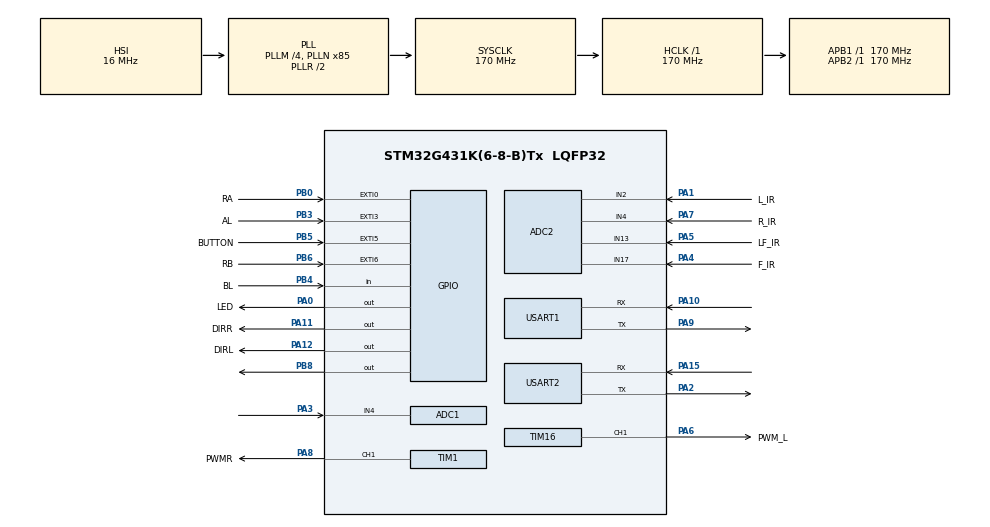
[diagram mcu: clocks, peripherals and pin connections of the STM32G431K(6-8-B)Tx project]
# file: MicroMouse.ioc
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ADC2.Channel-2\#ChannelRegularConversion=ADC_CHANNEL_2
ADC2.Channel-3\#ChannelRegularConversion=ADC_CHANNEL_13
ADC2.Channel-4\#ChannelRegularConversion=ADC_CHANNEL_17
ADC2.Channel-5\#ChannelRegularConversion=ADC_CHANNEL_4
ADC2.ClockPrescaler=ADC_CLOCK_ASYNC_DIV32
ADC2.ContinuousConvMode=ENABLE
ADC2.DMAContinuousRequests=ENABLE
ADC2.EOCSelection=ADC_EOC_SEQ_CONV
ADC2.NbrOfConversion=4
ADC2.NbrOfConversionFlag=1
ADC2.OffsetNumber-2\#ChannelRegularConversion=ADC_OFFSET_NONE
ADC2.OffsetNumber-3\#ChannelRegularConversion=ADC_OFFSET_NONE
ADC2.OffsetNumber-4\#ChannelRegularConversion=ADC_OFFSET_NONE
ADC2.OffsetNumber-5\#ChannelRegularConversion=ADC_OFFSET_NONE
ADC2.OversamplingMode=DISABLE
ADC2.Rank-2\#ChannelRegularConversion=1
ADC2.Rank-3\#ChannelRegularConversion=2
ADC2.Rank-4\#ChannelRegularConversion=3
ADC2.Rank-5\#ChannelRegularConversion=4
ADC2.SamplingTime-2\#ChannelRegularConversion=ADC_SAMPLETIME_2CYCLES_5
ADC2.SamplingTime-3\#ChannelRegularConversion=ADC_SAMPLETIME_2CYCLES_5
ADC2.SamplingTime-4\#ChannelRegularConversion=ADC_SAMPLETIME_2CYCLES_5
ADC2.SamplingTime-5\#ChannelRegularConversion=ADC_SAMPLETIME_2CYCLES_5
Dma.ADC2.2.Direction=DMA_PERIPH_TO_MEMORY
Dma.ADC2.2.EventEnable=DISABLE
Dma.ADC2.2.Instance=DMA1_Channel1
Dma.ADC2.2.MemDataAlignment=DMA_MDATAALIGN_HALFWORD
Dma.ADC2.2.MemInc=DMA_MINC_ENABLE
Dma.ADC2.2.Mode=DMA_CIRCULAR
Dma.ADC2.2.PeriphDataAlignment=DMA_PDATAALIGN_HALFWORD
Dma.ADC2.2.PeriphInc=DMA_PINC_DISABLE
Dma.ADC2.2.Polarity=HAL_DMAMUX_REQ_GEN_RISING
Dma.ADC2.2.Priority=DMA_PRIORITY_LOW
Dma.ADC2.2.RequestNumber=1
Dma.ADC2.2.SignalID=NONE
Dma.ADC2.2.SyncEnable=DISABLE
Dma.ADC2.2.SyncPolarity=HAL_DMAMUX_SYNC_NO_EVENT
Dma.ADC2.2.SyncRequestNumber=1
Dma.ADC2.2.SyncSignalID=NONE
Dma.Request0=USART1_RX
Dma.Request1=USART1_TX
Dma.Request2=ADC2
Dma.USART1_RX.0.Direction=DMA_PERIPH_TO_MEMORY
Dma.USART1_RX.0.EventEnable=DISABLE
Dma.USART1_RX.0.Instance=DMA1_Channel4
Dma.USART1_RX.0.MemDataAlignment=DMA_MDATAALIGN_BYTE
Dma.USART1_RX.0.MemInc=DMA_MINC_ENABLE
Dma.USART1_RX.0.Mode=DMA_NORMAL
Dma.USART1_RX.0.PeriphDataAlignment=DMA_PDATAALIGN_BYTE
Dma.USART1_RX.0.PeriphInc=DMA_PINC_DISABLE
Dma.USART1_RX.0.Polarity=HAL_DMAMUX_REQ_GEN_RISING
Dma.USART1_RX.0.Priority=DMA_PRIORITY_LOW
Dma.USART1_RX.0.RequestNumber=1
Dma.USART1_RX.0.SignalID=NONE
Dma.USART1_RX.0.SyncEnable=DISABLE
Dma.USART1_RX.0.SyncPolarity=HAL_DMAMUX_SYNC_NO_EVENT
Dma.USART1_RX.0.SyncRequestNumber=1
Dma.USART1_RX.0.SyncSignalID=NONE
Dma.USART1_TX.1.Direction=DMA_MEMORY_TO_PERIPH
Dma.USART1_TX.1.EventEnable=DISABLE
Dma.USART1_TX.1.Instance=DMA1_Channel5
Dma.USART1_TX.1.MemDataAlignment=DMA_MDATAALIGN_BYTE
Dma.USART1_TX.1.MemInc=DMA_MINC_ENABLE
Dma.USART1_TX.1.Mode=DMA_NORMAL
Dma.USART1_TX.1.PeriphDataAlignment=DMA_PDATAALIGN_BYTE
Dma.USART1_TX.1.PeriphInc=DMA_PINC_DISABLE
Dma.USART1_TX.1.Polarity=HAL_DMAMUX_REQ_GEN_RISING
Dma.USART1_TX.1.Priority=DMA_PRIORITY_LOW
Dma.USART1_TX.1.RequestNumber=1
Dma.USART1_TX.1.SignalID=NONE
Dma.USART1_TX.1.SyncEnable=DISABLE
Dma.USART1_TX.1.SyncPolarity=HAL_DMAMUX_SYNC_NO_EVENT
Dma.USART1_TX.1.SyncRequestNumber=1
Dma.USART1_TX.1.SyncSignalID=NONE
Mcu.Family=STM32G4
Mcu.Name=STM32G431K(6-8-B)Tx
Mcu.Package=LQFP32
NUCLEO-G431KB.LD2=true
NUCLEO-G431KB.VCP=true
NVIC.ADC1_2_IRQn=true\:0\:0\:false\:false\:true\:true\:true\:true
NVIC.DMA1_Channel1_IRQn=true\:0\:0\:false\:false\:true\:false\:true\:true
NVIC.DMA1_Channel4_IRQn=true\:0\:0\:false\:false\:true\:false\:true\:true
NVIC.DMA1_Channel5_IRQn=true\:0\:0\:false\:false\:true\:false\:true\:true
NVIC.EXTI0_IRQn=true\:0\:0\:false\:false\:true\:true\:true\:true
NVIC.EXTI3_IRQn=true\:0\:0\:false\:false\:true\:true\:true\:true
NVIC.EXTI9_5_IRQn=true\:0\:0\:false\:false\:true\:true\:true\:true
NVIC.PriorityGroup=NVIC_PRIORITYGROUP_4
NVIC.TIM2_IRQn=true\:0\:0\:false\:false\:true\:true\:true\:true
NVIC.TIM6_DAC_IRQn=true\:15\:0\:false\:false\:true\:false\:true\:true
NVIC.TimeBase=TIM6_DAC_IRQn
NVIC.TimeBaseIP=TIM6
PA0.GPIO_Label=LED
PA0.Signal=GPIO_Output
PA1.GPIO_Label=L_IR
PA1.Mode=IN2-Single-Ended
PA1.Signal=ADC2_IN2
PA10.Mode=Asynchronous
PA10.Signal=USART1_RX
PA11.GPIO_Label=DIRR
PA11.Signal=GPIO_Output
PA12.GPIO_Label=DIRL
PA12.Signal=GPIO_Output
PA13.GPIO_Label=T_SWDIO
PA13.Mode=Serial_Wire
PA13.Signal=SYS_JTMS-SWDIO
PA14.GPIO_Label=T_SWCLK
PA14.Mode=Serial_Wire
PA14.Signal=SYS_JTCK-SWCLK
PA15.Mode=Asynchronous
PA15.Signal=USART2_RX
PA2.Mode=Asynchronous
PA2.Signal=USART2_TX
PA3.Mode=IN4-Single-Ended
PA3.Signal=ADC1_IN4
PA4.GPIO_Label=F_IR
PA4.Mode=IN17-Single-Ended
PA4.Signal=ADC2_IN17
PA5.GPIO_Label=LF_IR
PA5.Mode=IN13-Single-Ended
PA5.Signal=ADC2_IN13
PA6.GPIO_Label=PWM_L
PA6.Signal=S_TIM16_CH1
PA7.GPIO_Label=R_IR
PA7.Mode=IN4-Single-Ended
PA7.Signal=ADC2_IN4
PA8.GPIO_Label=PWMR
PA8.Signal=S_TIM1_CH1
PA9.Mode=Asynchronous
PA9.Signal=USART1_TX
PB0.GPIO_Label=RA
PB0.GPIO_ModeDefaultEXTI=GPIO_MODE_IT_RISING_FALLING
PB0.Signal=GPXTI0
PB3.GPIO_Label=AL
PB3.GPIO_ModeDefaultEXTI=GPIO_MODE_IT_RISING_FALLING
PB3.Signal=GPXTI3
PB4.GPIO_Label=BL
PB4.Signal=GPIO_Input
PB5.GPIO_Label=BUTTON
PB5.GPIO_ModeDefaultEXTI=GPIO_MODE_IT_FALLING
PB5.Signal=GPXTI5
PB6.GPIO_Label=RB
PB6.Signal=GPXTI6
PB8-BOOT0.Signal=GPIO_Output
ProjectManager.HeapSize=0x200
ProjectManager.StackSize=0x400
ProjectManager.TargetToolchain=STM32CubeIDE
RCC.ADC12Freq_Value=170000000
RCC.AHBFreq_Value=170000000
RCC.APB1Freq_Value=170000000
RCC.APB1TimFreq_Value=170000000
RCC.APB2Freq_Value=170000000
RCC.APB2TimFreq_Value=170000000
RCC.CortexFreq_Value=170000000
RCC.EXTERNAL_CLOCK_VALUE=12288000
RCC.HCLKFreq_Value=170000000
RCC.HSE_VALUE=8000000
RCC.HSI48_VALUE=48000000
RCC.HSI_VALUE=16000000
RCC.LSE_VALUE=32768
RCC.PLLM=RCC_PLLM_DIV4
RCC.PLLN=85
RCC.SYSCLKFreq_VALUE=170000000
RCC.SYSCLKSource=RCC_SYSCLKSOURCE_PLLCLK
RCC.USBFreq_Value=170000000
RCC.VCOOutputFreq_Value=340000000
SH.S_TIM16_CH1.0=TIM16_CH1,PWM Generation1 CH1
SH.S_TIM1_CH1.0=TIM1_CH1,PWM Generation1 CH1
TIM1.Channel-PWM\ Generation1\ CH1=TIM_CHANNEL_1
TIM16.Channel=TIM_CHANNEL_1
USART1.VirtualMode-Asynchronous=VM_ASYNC
VP_NUCLEO-G431KB_VS_BSP_COMMON.Mode=COMMON
VP_SYS_VS_DBSignals.Mode=DisableDeadBatterySignals
VP_SYS_VS_tim6.Mode=TIM6
VP_TIM16_VS_ClockSourceINT.Mode=Enable_Timer
VP_TIM1_VS_ClockSourceINT.Mode=Internal
VP_TIM2_VS_ClockSourceINT.Mode=Internal
board=NUCLEO-G431KB

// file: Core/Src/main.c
/* USER CODE BEGIN Header */
/**
  ******************************************************************************
  * @file           : main.c
  * @brief          : Main program body
  ******************************************************************************
  * @attention
  *
  * Copyright (c) 2025 STMicroelectronics.
  * All rights reserved.
  *
  * This software is licensed under terms that can be found in the LICENSE file
  * in the root directory of this software component.
  * If no LICENSE file comes with this software, it is provided AS-IS.
  *
  ******************************************************************************
  */
/* USER CODE END Header */
#include "main.h"
#include "adc.h"
#include "dma.h"
#include "tim.h"
#include "usart.h"
#include "gpio.h"
#include "floodfill.h"
#include <math.h>

COM_InitTypeDef BspCOMInit;

/* USER CODE BEGIN PV */

float kpp = 1.0f;
float kvp = 20.0f;
float kvi = 10.0f;
float kenc = 0.015259f;
float dt = 0.001f;

// Wall centering parameters
float wall_centering_gain = 20.0f;  // Adjust this for centering strength
uint16_t close_threshold = 1500;  // Add this line
float turn_threshold = 15.0f;       // Threshold to detect turns vs straight moves
uint16_t front_threshold = 2700;

// Rate limiter parameters
static float prev_vel_ref_R = 0;
static float prev_vel_ref_L = 0;
static float max_vel_change = 100.0f;  // mm/s per control cycle (adjust as needed)

volatile int32_t encoder_ticks_R = 0;
volatile int32_t encoder_ticks_L = 0;
int32_t prev_encoder_ticks_R = 0;
int32_t prev_encoder_ticks_L = 0;
float vel_integral_R = 0;
float vel_integral_L = 0;

uint32_t last_control_time = 0;

#define NUM_IR_SENSORS 4
volatile uint16_t ir_readings[NUM_IR_SENSORS];

volatile uint8_t button_mode = 0;

/* USER CODE END PV */

void SystemClock_Config(void);
/* USER CODE BEGIN PFP */
float rate_limit_velocity(float new_vel_ref, float prev_vel_ref, float max_change);
float cascaded_control_with_vel_rate_limit(float pos_target, float pos_current,
                                          float vel_current, float *vel_integral,
                                          float *prev_vel_ref);
void set_motor_pwm_R(float cmd);
void set_motor_pwm_L(float cmd);
uint8_t robot_has_reached_next_cell(float pos_target_R, float pos_target_L);
float calculate_wall_centering(float pos_target_R, float pos_target_L);

/* USER CODE END PFP */

int main(void)
{

  /* MCU Configuration--------------------------------------------------------*/

  /* Reset of all peripherals, Initializes the Flash interface and the Systick. */
  HAL_Init();

  /* Configure the system clock */
  SystemClock_Config();

  /* Initialize all configured peripherals */
  MX_GPIO_Init();
  MX_DMA_Init();
  MX_ADC2_Init();
  MX_USART1_UART_Init();
  MX_TIM1_Init();
  MX_TIM16_Init();
  MX_TIM2_Init();
  /* USER CODE BEGIN 2 */
  HAL_TIM_PWM_Start(&htim1, TIM_CHANNEL_1);
  HAL_TIM_PWM_Start(&htim16, TIM_CHANNEL_1);

  HAL_ADC_Start_DMA(&hadc2, (uint32_t*)ir_readings, NUM_IR_SENSORS);
  floodfill_set_goal(3, 3);   // or whatever cell you want as goal
  floodfill_init();

  // Give sensors time to stabilize
  HAL_Delay(500);  // 500ms is sufficient

  // NOW read the initial walls (using higher threshold for reliable detection)
  uint8_t front = (ir_readings[2] > 500);
  uint8_t left  = (ir_readings[0] > 500);
  uint8_t right = (ir_readings[3] > 500);
  floodfill_update_walls(front, left, right);
  floodfill_step();
  /* USER CODE END 2 */

  /* Initialize leds */
  BSP_LED_Init(LED_GREEN);

  /* Initialize COM1 port (115200, 8 bits (7-bit data + 1 stop bit), no parity */
  BspCOMInit.BaudRate   = 115200;
  BspCOMInit.WordLength = COM_WORDLENGTH_8B;
  BspCOMInit.StopBits   = COM_STOPBITS_1;
  BspCOMInit.Parity     = COM_PARITY_NONE;
  BspCOMInit.HwFlowCtl  = COM_HWCONTROL_NONE;
  if (BSP_COM_Init(COM1, &BspCOMInit) != BSP_ERROR_NONE)
  {
    Error_Handler();
  }

  /* Infinite loop */
  /* USER CODE BEGIN WHILE */
  /* Infinite loop */
  /* USER CODE BEGIN WHILE */
  while (1)
  {
	   if (!floodfill_is_goal_reached() && floodfill_get_pos_x() == floodfill_get_goal_x() && floodfill_get_pos_y() == floodfill_get_goal_y()) {
		  // Signal that goal was reached (LED blinks)
		  HAL_GPIO_WritePin(GPIOA, GPIO_PIN_0, GPIO_PIN_SET);
		  HAL_Delay(200);
		  HAL_GPIO_WritePin(GPIOA, GPIO_PIN_0, GPIO_PIN_RESET);
		  HAL_Delay(200);
		  HAL_GPIO_WritePin(GPIOA, GPIO_PIN_0, GPIO_PIN_SET);
		  HAL_Delay(200);
		  HAL_GPIO_WritePin(GPIOA, GPIO_PIN_0, GPIO_PIN_RESET);
	   }
      // Only do wall sensing during exploration (before goal is reached)
      if (!floodfill_is_goal_reached()) {
          uint8_t front = (ir_readings[2] > 500);
          uint8_t left  = (ir_readings[0] > 500);
          uint8_t right = (ir_readings[3] > 500);
          floodfill_update_walls(front, left, right);
          floodfill_step();
      }

      // Check if we've completed the return journey
      if (floodfill_is_goal_reached() &&
          floodfill_get_pos_x() == 0 &&
          floodfill_get_pos_y() == 0) {
          // Robot has returned to start - celebration sequence
          for(int i = 0; i < 5; i++) {
              HAL_GPIO_WritePin(GPIOA, GPIO_PIN_0, GPIO_PIN_SET);
              HAL_Delay(200);
              HAL_GPIO_WritePin(GPIOA, GPIO_PIN_0, GPIO_PIN_RESET);
              HAL_Delay(200);
          }
          break; // Exit or restart as needed
      }

      float pos_target_R = 0, pos_target_L = 0;
      uint8_t has_move = floodfill_next_motor_targets(&pos_target_R, &pos_target_L);

      if (!has_move) {
          HAL_Delay(1);
          continue;
      }

      // Reset encoder and control variables for the next move
      encoder_ticks_R = 0;
      encoder_ticks_L = 0;
      prev_encoder_ticks_R = 0;
      prev_encoder_ticks_L = 0;
      vel_integral_R = 0;
      vel_integral_L = 0;
      // Reset velocity reference rate limiter
      prev_vel_ref_R = 0;
      prev_vel_ref_L = 0;

      uint32_t timeout = HAL_GetTick() + 5000;

      while (!robot_has_reached_next_cell(pos_target_R, pos_target_L)) {
          if (HAL_GetTick() - last_control_time >= 1) {
              last_control_time += 1;

              float pos_current_R = encoder_ticks_R * kenc;
              float vel_current_R = (encoder_ticks_R - prev_encoder_ticks_R) * kenc / dt;
              prev_encoder_ticks_R = encoder_ticks_R;

              float pos_current_L = encoder_ticks_L * kenc;
              float vel_current_L = (encoder_ticks_L - prev_encoder_ticks_L) * kenc / dt;
              prev_encoder_ticks_L = encoder_ticks_L;

              // Use rate-limited cascaded control
              float pwm_R = cascaded_control_with_vel_rate_limit(pos_target_R, pos_current_R,
                                                                vel_current_R, &vel_integral_R,
                                                                &prev_vel_ref_R);
              float pwm_L = cascaded_control_with_vel_rate_limit(-pos_target_L, pos_current_L,
                                                                vel_current_L, &vel_integral_L,
                                                                &prev_vel_ref_L);

              // Calculate wall centering command (pass the targets to detect turns)
              float centering_cmd = calculate_wall_centering(pos_target_R, pos_target_L);

              // Apply differential centering (Method 2)
              float pwm_R_centered = pwm_R + centering_cmd;  // Right motor
              float pwm_L_centered = pwm_L + centering_cmd;  // Left motor (opposite)

              set_motor_pwm_R(pwm_R_centered);
              set_motor_pwm_L(pwm_L_centered);
          }
          if (HAL_GetTick() > timeout) break;
      }

      set_motor_pwm_R(0);
      set_motor_pwm_L(0);
  	  }
	  /* USER CODE END WHILE */

  }

void SystemClock_Config(void)
{
  RCC_OscInitTypeDef RCC_OscInitStruct = {0};
  RCC_ClkInitTypeDef RCC_ClkInitStruct = {0};

  /** Configure the main internal regulator output voltage
  */
  HAL_PWREx_ControlVoltageScaling(PWR_REGULATOR_VOLTAGE_SCALE1_BOOST);

  /** Initializes the RCC Oscillators according to the specified parameters
  * in the RCC_OscInitTypeDef structure.
  */
  RCC_OscInitStruct.OscillatorType = RCC_OSCILLATORTYPE_HSI;
  RCC_OscInitStruct.HSIState = RCC_HSI_ON;
  RCC_OscInitStruct.HSICalibrationValue = RCC_HSICALIBRATION_DEFAULT;
  RCC_OscInitStruct.PLL.PLLState = RCC_PLL_ON;
  RCC_OscInitStruct.PLL.PLLSource = RCC_PLLSOURCE_HSI;
  RCC_OscInitStruct.PLL.PLLM = RCC_PLLM_DIV4;
  RCC_OscInitStruct.PLL.PLLN = 85;
  RCC_OscInitStruct.PLL.PLLP = RCC_PLLP_DIV2;
  RCC_OscInitStruct.PLL.PLLQ = RCC_PLLQ_DIV2;
  RCC_OscInitStruct.PLL.PLLR = RCC_PLLR_DIV2;
  if (HAL_RCC_OscConfig(&RCC_OscInitStruct) != HAL_OK)
  {
    Error_Handler();
  }

  /** Initializes the CPU, AHB and APB buses clocks
  */
  RCC_ClkInitStruct.ClockType = RCC_CLOCKTYPE_HCLK|RCC_CLOCKTYPE_SYSCLK
                              |RCC_CLOCKTYPE_PCLK1|RCC_CLOCKTYPE_PCLK2;
  RCC_ClkInitStruct.SYSCLKSource = RCC_SYSCLKSOURCE_PLLCLK;
  RCC_ClkInitStruct.AHBCLKDivider = RCC_SYSCLK_DIV1;
  RCC_ClkInitStruct.APB1CLKDivider = RCC_HCLK_DIV1;
  RCC_ClkInitStruct.APB2CLKDivider = RCC_HCLK_DIV1;

  if (HAL_RCC_ClockConfig(&RCC_ClkInitStruct, FLASH_LATENCY_4) != HAL_OK)
  {
    Error_Handler();
  }
}

/* USER CODE BEGIN 4 */

// Rate limiter function
float rate_limit_velocity(float new_vel_ref, float prev_vel_ref, float max_change) {
    float delta = new_vel_ref - prev_vel_ref;
    if (delta > max_change) {
        return prev_vel_ref + max_change;
    } else if (delta < -max_change) {
        return prev_vel_ref - max_change;
    }
    return new_vel_ref;
}

// Modified cascaded_control function with velocity rate limiting
float cascaded_control_with_vel_rate_limit(float pos_target, float pos_current,
                                          float vel_current, float *vel_integral,
                                          float *prev_vel_ref) {
    // Calculate desired velocity reference from position error
    float vel_ref_desired = kpp * (pos_target - pos_current);

    // Apply rate limiting to velocity reference
    float vel_ref = rate_limit_velocity(vel_ref_desired, *prev_vel_ref, max_vel_change);
    *prev_vel_ref = vel_ref;

    // Continue with normal velocity control
    float vel_error = vel_ref - vel_current;
    *vel_integral += vel_error * dt;

    float pwm = kvp * vel_error + kvi * (*vel_integral);

    // Anti-windup
    if (pwm > 100.0f) {
        pwm = 100.0f;
        *vel_integral -= vel_error * dt;
    } else if (pwm < -100.0f) {
        pwm = -100.0f;
        *vel_integral -= vel_error * dt;
    }

    // Add minimum PWM to prevent stalling near target
    float min_pwm = 60.0f;  // Adjust this value (try 10-25)
    float pos_error = pos_target - pos_current;

    // Only apply minimum PWM if we're still far from target (> 2mm error)
    if (fabsf(pos_error) > 0.0f) {
        if (pwm > 0 && pwm < min_pwm) {
            pwm = min_pwm;
        } else if (pwm < 0 && pwm > -min_pwm) {
            pwm = -min_pwm;
        }
    }

    return pwm;
}

float calculate_wall_centering(float pos_target_R, float pos_target_L)
{
    float left_sensor = ir_readings[0];   // Left wall sensor
    float right_sensor = ir_readings[3];  // Right wall sensor

    float centering_command = 0;

    if (fabsf(pos_target_R) < turn_threshold || fabsf(pos_target_L) < turn_threshold) {
        // This is a turn - no centering applied
        return 0;
    }

    // Determine if we're moving forward or backward
    uint8_t moving_backward = (pos_target_R < 0 && pos_target_L < 0);

    if (left_sensor > close_threshold && right_sensor > close_threshold) {
        // Both walls present - center between them
        float left_closeness = (left_sensor - close_threshold) * (3.3f/4095);
        float right_closeness = (right_sensor - close_threshold) * (3.3f/4095);

        // Positive = steer left, Negative = steer right (for forward movement)
        centering_command = wall_centering_gain * (right_closeness - left_closeness);

        // Invert for backward movement
        if (moving_backward) {
            centering_command = -centering_command;
        }
    } else if (left_sensor > close_threshold) {
        // Only left wall - steer right (for forward movement)
        centering_command = -wall_centering_gain * ((left_sensor - close_threshold) * (3.3f/4095));

        // Invert for backward movement (steer left when going backward)
        if (moving_backward) {
            centering_command = -centering_command;
        }
    } else if (right_sensor > close_threshold) {
        // Only right wall - steer left (for forward movement)
        centering_command = wall_centering_gain * ((right_sensor - close_threshold) * (3.3f/4095));

        // Invert for backward movement (steer right when going backward)
        if (moving_backward) {
            centering_command = -centering_command;
        }
    }

    // Limit the centering command
    if (centering_command > 35.0f) centering_command = 35.0f;
    if (centering_command < -35.0f) centering_command = -35.0f;

    return centering_command;
}

void HAL_GPIO_EXTI_Callback(uint16_t GPIO_Pin)
{
    if (GPIO_Pin == GPIO_PIN_0) {
        uint8_t currA = HAL_GPIO_ReadPin(GPIOB, GPIO_PIN_0);
        uint8_t currB = HAL_GPIO_ReadPin(GPIOB, GPIO_PIN_6);
        encoder_ticks_R += (currA == currB) ? -1 : +1;
    }
    else if (GPIO_Pin == GPIO_PIN_3) {
        uint8_t currA = HAL_GPIO_ReadPin(GPIOB, GPIO_PIN_3);
        uint8_t currB = HAL_GPIO_ReadPin(GPIOB, GPIO_PIN_4);
        encoder_ticks_L += (currA == currB) ? -1 : +1;
    }
    else if (GPIO_Pin == GPIO_PIN_5){
    	button_mode += 1;
    }
}

void set_motor_pwm_R(float cmd)
{
    if (cmd > 100.0f) {
        cmd = 100.0f;
    } else if (cmd < -100.0f) {
        cmd = -100.0f;
    }
    if (cmd >= 0) {
        HAL_GPIO_WritePin(DIRR_GPIO_Port, DIRR_Pin, GPIO_PIN_SET);
    } else {
        HAL_GPIO_WritePin(DIRR_GPIO_Port, DIRR_Pin, GPIO_PIN_RESET);
        cmd = -cmd;
    }
    __HAL_TIM_SET_COMPARE(&htim1, TIM_CHANNEL_1, (uint16_t)(cmd * 655.35f));
}

void set_motor_pwm_L(float cmd)
{
    if (cmd > 100.0f) {
        cmd = 100.0f;
    } else if (cmd < -100.0f) {
        cmd = -100.0f;
    }
    if (cmd >= 0) {
        HAL_GPIO_WritePin(DIRL_GPIO_Port, DIRL_Pin, GPIO_PIN_SET);
    } else {
        HAL_GPIO_WritePin(DIRL_GPIO_Port, DIRL_Pin, GPIO_PIN_RESET);
        cmd = -cmd;
    }
    __HAL_TIM_SET_COMPARE(&htim16, TIM_CHANNEL_1, (uint16_t)(cmd * 655.35f));
}

void HAL_ADC_ConvCpltCallback(ADC_HandleTypeDef *hadc)
{
    if (hadc->Instance == ADC2) {
        // e.g., process ir_readings[]
    }
}

uint8_t robot_has_reached_next_cell(float pos_target_R, float pos_target_L) {
  float pos_current_R = encoder_ticks_R * kenc;
  float pos_current_L = encoder_ticks_L * kenc;

  if (fabsf(pos_target_R - pos_current_R) < 1.0f &&
      fabsf(-pos_target_L - pos_current_L) < 1.0f) {
    return 1;
  }

  float distance_moved = fmaxf(fabsf(pos_current_R), fabsf(pos_current_L));
  if (distance_moved > 10.0f && ir_readings[2] > front_threshold) {
      return 1;
  }

  return 0;
}

/* USER CODE END 4 */

void HAL_TIM_PeriodElapsedCallback(TIM_HandleTypeDef *htim)
{
  if (htim->Instance == TIM6)
  {
    HAL_IncTick();
  }
}

void Error_Handler(void)
{
  __disable_irq();
  while (1)
  {
  }
}
